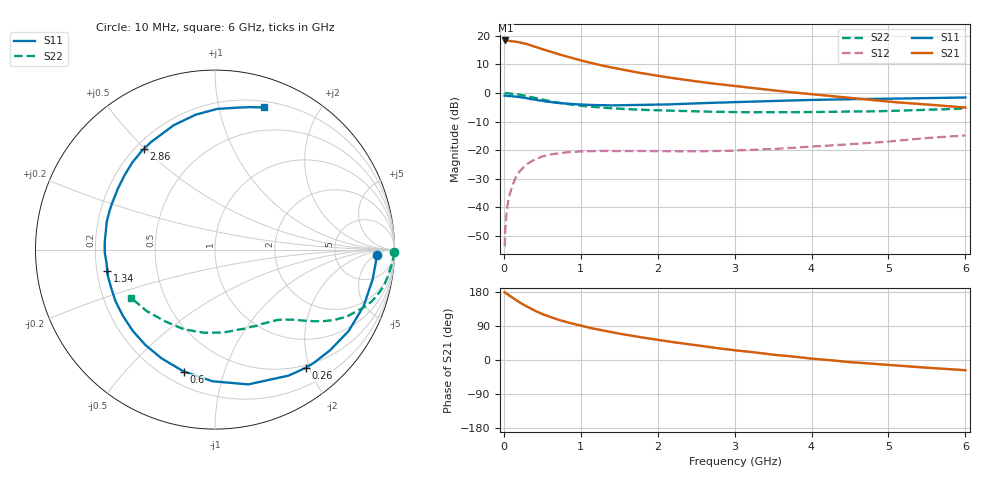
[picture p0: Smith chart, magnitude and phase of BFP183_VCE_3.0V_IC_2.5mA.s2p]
! Infineon Technologies  Discrete & RF Semiconductors
! BFP183
! VCE = 3.0 V,  IC =  2.5 mA
! Common Emitter S-Parameters:  Jan 2016
# GHz  S  MA  R  50
!  f  S11  S21  S12  S22
! GHz  MAG  ANG  MAG  ANG  MAG  ANG  MAG  ANG
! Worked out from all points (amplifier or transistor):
!   210 points, 10 MHz to 6 GHz, reference 50 ohm
!   highest |S21| = 18.4 dB at 20 MHz (marker M1)
!   |S21| within 3 dB of that: start of sweep to 496.2 MHz
!   unconditionally stable (mu >= 1): 1.979 GHz to 5.829 GHz
!   at 185 MHz: K = 0.11, MSG = 23.0 dB, |S12| = -28.2 dB
!   at 1.52 GHz: K = 0.79, MSG = 14.3 dB, |S12| = -20.3 dB
!   at 6 GHz: K = 0.96, MSG = 4.9 dB, |S12| = -14.8 dB
!   S11 on the Smith chart (normalised r, x): 10 MHz: 17, -6; 260 MHz: 0.46, -1.94; 600 MHz: 0.28, -0.74; 1.34 GHz: 0.24, -0.09; 2.86 GHz: 0.23, +0.50; 6 GHz: 0.26, +1.37
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0.01  0.9017 -2.0  8.285 178.8  0.0021 90.2  0.9987 -0.8
0.02  0.899 -4.3  8.328 177.8  0.0042 84.3  0.9976 -1.7
0.055  0.8918 -11.7  8.235 172.3  0.0125 85.2  0.9891 -4.5
0.15  0.8719 -31.3  7.937 159.3  0.0321 72.0  0.9624 -12.1
0.2  0.8518 -41.2  7.74 152.8  0.0417 67.4  0.9402 -15.6
0.26  0.8302 -52.5  7.408 145.5  0.0511 61.7  0.9075 -19.5
0.3  0.8131 -59.7  7.217 141.3  0.0573 58.3  0.8822 -21.8
0.4  0.7734 -76.2  6.524 130.3  0.0689 49.8  0.8253 -26.8
0.5  0.7335 -91.1  5.874 121.3  0.0779 43.0  0.7711 -30.6
0.6  0.7012 -104.4  5.375 113.6  0.0841 37.9  0.7228 -33.5
0.7  0.6751 -116.2  4.837 106.8  0.0881 33.4  0.6822 -35.8
0.8  0.6577 -126.2  4.441 100.6  0.0914 29.8  0.65 -37.7
1.02  0.6293 -146.0  3.663 89.5  0.0954 23.7  0.5973 -41.0
1.12  0.6221 -154.1  3.409 84.6  0.0966 21.7  0.5798 -42.3
1.34  0.6116 -168.9  2.915 75.9  0.0972 18.4  0.5499 -45.2
1.6  0.6157 175.9  2.492 66.2  0.097 16.2  0.5244 -48.4
2.02  0.6288 155.9  1.987 52.6  0.0964 15.0  0.4992 -54.5
2.86  0.6868 125.1  1.399 29.2  0.0976 18.0  0.4695 -70.1
3.1  0.7006 118.4  1.282 23.7  0.0999 19.6  0.4635 -75.3
4.1  0.7629 96.3  0.927 2.0  0.1177 24.2  0.467 -100.3
5.1  0.8006 81.1  0.691 -14.4  0.146 25.5  0.4898 -127.4
6  0.8378 71.0  0.558 -27.0  0.1812 19.9  0.5401 -150.3
